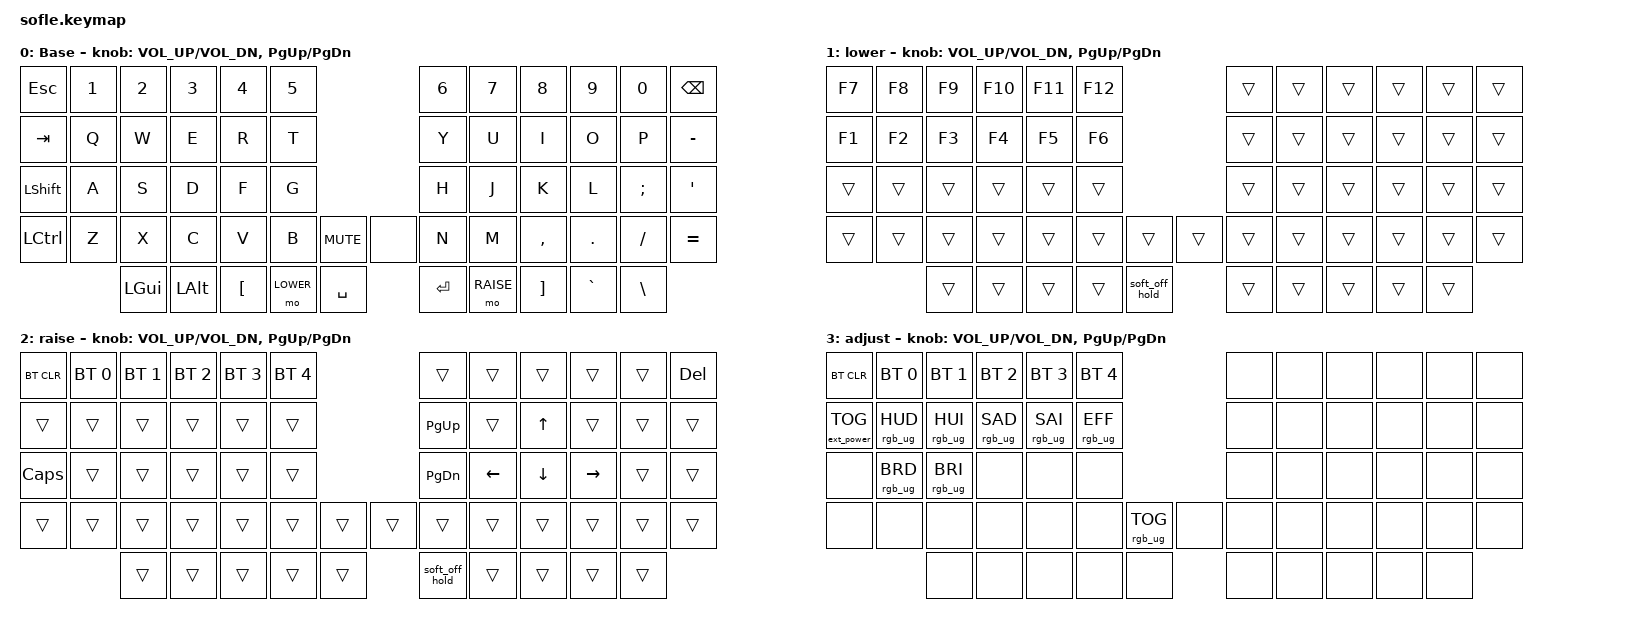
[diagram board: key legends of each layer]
/*
 * Copyright (c) 2020 The ZMK Contributors
 *
 * SPDX-License-Identifier: MIT
 */

#include <behaviors.dtsi>
#include <dt-bindings/zmk/keys.h>
#include <dt-bindings/zmk/bt.h>
#include <dt-bindings/zmk/rgb.h>
#include <dt-bindings/zmk/ext_power.h>

#define BASE 0
#define LOWER 1
#define RAISE 2
#define ADJUST 3

/ {
    behaviors {
        soft_off_hold: soft_off_hold {
            compatible = "zmk,behavior-soft-off";
            #binding-cells = <0>;
            hold-time-ms = <3000>;
        };
    };

   // Activate ADJUST layer by pressing raise and lower
    conditional_layers {
        compatible = "zmk,conditional-layers";
        adjust_layer {
            if-layers = <LOWER RAISE>;
            then-layer = <ADJUST>;
        };
    };

    keymap {
        compatible = "zmk,keymap";

        default_layer {
            display-name = "Base";
// ------------------------------------------------------------------------------------------------------------
// |  ESC  |  1  |  2  |  3   |  4   |  5   |                   |  6   |  7    |  8    |  9   |   0   | BKSPC |
// |  TAB  |  Q  |  W  |  E   |  R   |  T   |                   |  Y   |  U    |  I    |  O   |   P   |   -   |
// | SHIFT |  A  |  S  |  D   |  F   |  G   |                   |  H   |  J    |  K    |  L   |   ;   |   '   |
// |  CTRL |  Z  |  X  |  C   |  V   |  B   |  MUTE  |  |       |  N   |  M    |  ,    |  .   |   /   |   =   |
//               | GUI | ALT  |  [   | LOWER|  SPACE |  | ENTER | RAISE|  ]    |  `    | GUI  |
            bindings = <
&kp ESC   &kp N1 &kp N2   &kp N3   &kp N4    &kp N5                           &kp N6 &kp N7    &kp N8    &kp N9   &kp N0   &kp BSPC
&kp TAB   &kp Q  &kp W    &kp E    &kp R     &kp T                            &kp Y  &kp U     &kp I     &kp O    &kp P    &kp MINUS
&kp LSHFT &kp A  &kp S    &kp D    &kp F     &kp G                            &kp H  &kp J     &kp K     &kp L    &kp SEMI &kp SQT
&kp LCTRL &kp Z  &kp X    &kp C    &kp V     &kp B      &kp C_MUTE &none      &kp N  &kp M     &kp COMMA &kp DOT  &kp FSLH &kp EQUAL
                 &kp LGUI &kp LALT &kp LBKT  &mo LOWER  &kp SPACE  &kp RET    &mo RAISE  &kp RBKT  &kp GRAVE  &kp BSLH
            >;

            sensor-bindings = <&inc_dec_kp C_VOL_UP C_VOL_DN &inc_dec_kp PG_UP PG_DN>;
        };

        lower_layer {
            display-name = "lower";
// TODO: Some binds are waiting for shifted keycode support.
// ------------------------------------------------------------------------------------------------------------
// |   F7  |  F8 |  F9 |  F10 |  F11 |  F12 |                   |      |       |       |      |       |       |
// |   F1  |  F2 |  F3 |  F4  |  F5  |  F6  |                   |      |       |       |      |       |       |
// |       |     |     |      |      |      |                   |      |       |       |      |       |       |
// |       |     |     |      |      |      |        |  |       |      |       |       |      |       |       |
//               |     |      |      |      |        |  |       |      |       |       |      |
            bindings = <
&kp F7    &kp F8    &kp F9    &kp F10     &kp F11   &kp F12                      &trans    &trans   &trans    &trans    &trans    &trans
&kp F1    &kp F2    &kp F3    &kp F4      &kp F5    &kp F6                       &trans    &trans   &trans    &trans    &trans    &trans
&trans    &trans    &trans    &trans      &trans    &trans                       &trans    &trans   &trans    &trans    &trans    &trans
&trans    &trans    &trans    &trans      &trans    &trans     &trans    &trans  &trans    &trans   &trans    &trans    &trans    &trans
                    &trans    &trans      &trans    &trans     &soft_off_hold &trans  &trans    &trans   &trans    &trans
            >;

            sensor-bindings = <&inc_dec_kp C_VOL_UP C_VOL_DN &inc_dec_kp PG_UP PG_DN>;
        };

        raise_layer {
            display-name = "raise";
// ------------------------------------------------------------------------------------------------------------
// | BTCLR | BT1  | BT2  |  BT3  |  BT4  |  BT5 |                |      |      |       |      |       |  DEL  |
// |       |      |     |       |       |      |                | PGUP |      |   ^   |      |       |       |
// |  CAPS |      |      |       |       |      |                | PGDN |   <- |   v   |  ->  |  DEL  | BKSPC |
// |       |      |      |       |       |      |      |  |      |      |      |       |      |       |       |
//                |      |       |       |      |      |  |      |      |      |       |      |
            bindings = <
&bt BT_CLR &bt BT_SEL 0 &bt BT_SEL 1 &bt BT_SEL 2 &bt BT_SEL 3 &bt BT_SEL 4                     &trans    &trans    &trans   &trans    &trans  &kp DEL
&trans     &trans       &trans       &trans       &trans       &trans                           &kp PG_UP &trans    &kp UP   &trans    &trans  &trans
&kp CLCK   &trans       &trans       &trans       &trans       &trans                           &kp PG_DN &kp LEFT  &kp DOWN &kp RIGHT &trans  &trans
&trans     &trans       &trans       &trans       &trans       &trans        &trans  &trans     &trans    &trans    &trans   &trans    &trans  &trans
                        &trans       &trans       &trans       &trans        &trans  &soft_off_hold  &trans    &trans    &trans   &trans
            >;

            sensor-bindings = <&inc_dec_kp C_VOL_UP C_VOL_DN &inc_dec_kp PG_UP PG_DN>;
        };

        adjust_layer {
// ----------------------------------------------------------------------------------------------------------------------------
// | BTCLR  |  BT1    |  BT2    |   BT3   |   BT4   |   BT5   |                  |      |      |       |      |       |       |
// | EXTPWR | RGB_HUD | RGB_HUI | RGB_SAD | RGB_SAI | RGB_EFF |                  |      |      |       |      |       |       |
// |        | RGB_BRD | RGB_BRI |         |         |         |                  |      |      |       |      |       |       |
// |        |         |         |         |         |         | RGB_TOG | |      |      |      |       |      |       |       |
//                    |         |         |         |         |         | |      |      |      |       |      |
            display-name = "adjust";
            bindings = <
&bt BT_CLR        &bt BT_SEL 0    &bt BT_SEL 1    &bt BT_SEL 2    &bt BT_SEL 3    &bt BT_SEL 4                            &none &none &none &none &none &none
&ext_power EP_TOG &rgb_ug RGB_HUD &rgb_ug RGB_HUI &rgb_ug RGB_SAD &rgb_ug RGB_SAI &rgb_ug RGB_EFF                         &none &none &none &none &none &none
&none             &rgb_ug RGB_BRD &rgb_ug RGB_BRI &none           &none           &none                                   &none &none &none &none &none &none
&none             &none           &none           &none           &none           &none            &rgb_ug RGB_TOG &none  &none &none &none &none &none &none
                                  &none           &none           &none           &none            &none           &none  &none &none &none &none
            >;

            sensor-bindings = <&inc_dec_kp C_VOL_UP C_VOL_DN &inc_dec_kp PG_UP PG_DN>;
        };

    };
};
